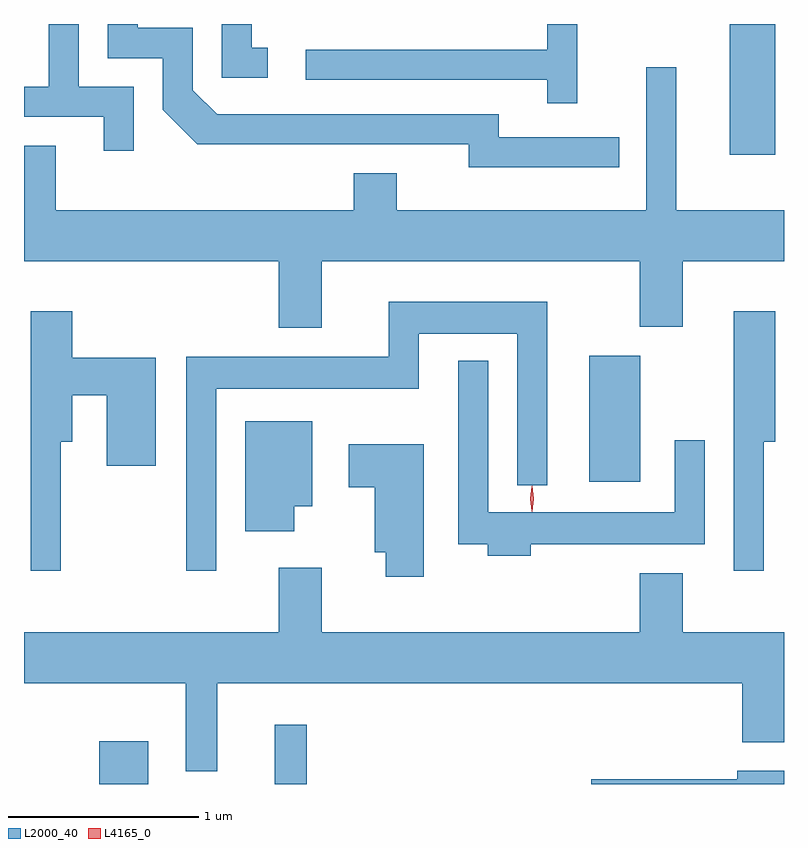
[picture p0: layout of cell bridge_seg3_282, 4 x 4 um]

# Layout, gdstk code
import gdstk
lib = gdstk.Library(unit=1e-6, precision=1e-09)
def R(c, l, rs):  # rectangles x0, y0, x1, y1
    for r in rs: c.add(gdstk.rectangle(r[:2], r[2:], *l))
def P(c, l, *ps):  # polygons
    for p in ps: c.add(gdstk.Polygon(p, *l))
L2000_40 = (2000, 40)
L4165_0 = (4165, 0)

bridge_seg3_282 = lib.new_cell('bridge_seg3_282')
R(bridge_seg3_282, L2000_40, [(1064.786,1116.605,1065.044,1116.829), (1065.711,1116.605,1065.879,1116.918), (1067.366,1118.196,1067.634,1118.859), (1068.106,1119.916,1068.344,1120.605)])
P(bridge_seg3_282, L2000_40, [(1067.523,1120.009),(1066.889,1120.009),(1066.889,1120.129),(1065.407,1120.129),(1065.279,1120.257),(1065.279,1120.584),(1064.989,1120.584),(1064.989,1120.605),(1064.831,1120.605),(1064.831,1120.426),(1065.121,1120.426),(1065.121,1120.154),(1065.304,1119.971),(1066.731,1119.971),(1066.731,1119.851),(1067.523,1119.851)],
  [(1067.304,1120.605),(1067.146,1120.605),(1067.146,1120.469),(1065.873,1120.469),(1065.873,1120.311),(1067.146,1120.311),(1067.146,1120.188),(1067.304,1120.188)],
  [(1064.969,1120.274),(1064.679,1120.274),(1064.679,1120.605),(1064.521,1120.605),(1064.521,1120.274),(1064.391,1120.274),(1064.391,1120.116),(1064.811,1120.116),(1064.811,1119.938),(1064.969,1119.938)],
  [(1065.673,1120.479),(1065.589,1120.479),(1065.589,1120.605),(1065.431,1120.605),(1065.431,1120.321),(1065.673,1120.321)],
  [(1064.559,1119.964),(1064.391,1119.964),(1064.391,1119.356),(1065.731,1119.356),(1065.731,1119.006),(1065.959,1119.006),(1065.959,1119.356),(1067.631,1119.356),(1067.631,1119.011),(1067.859,1119.011),(1067.859,1119.356),(1068.391,1119.356),(1068.391,1119.624),(1067.824,1119.624),(1067.824,1120.378),(1067.666,1120.378),(1067.666,1119.624),(1066.354,1119.624),(1066.354,1119.819),(1066.126,1119.819),(1066.126,1119.624),(1064.559,1119.624)],
  [(1065.404,1118.686),(1066.469,1118.686),(1066.469,1118.976),(1066.986,1118.976),(1066.986,1118.178),(1067.144,1118.178),(1067.144,1119.144),(1066.311,1119.144),(1066.311,1118.854),(1065.246,1118.854),(1065.246,1117.728),(1065.404,1117.728)],
  [(1068.284,1118.406),(1068.344,1118.406),(1068.344,1119.094),(1068.126,1119.094),(1068.126,1117.728),(1068.284,1117.728)],
  [(1064.584,1118.406),(1064.644,1118.406),(1064.644,1118.651),(1064.826,1118.651),(1064.826,1118.281),(1065.084,1118.281),(1065.084,1118.849),(1064.644,1118.849),(1064.644,1119.094),(1064.426,1119.094),(1064.426,1117.728),(1064.584,1117.728)],
  [(1067.059,1117.866),(1067.974,1117.866),(1067.974,1118.413),(1067.816,1118.413),(1067.816,1118.034),(1066.834,1118.034),(1066.834,1118.833),(1066.676,1118.833),(1066.676,1117.866),(1066.831,1117.866),(1066.831,1117.806),(1067.059,1117.806)],
  [(1065.814,1118.066),(1065.909,1118.066),(1065.909,1118.514),(1065.556,1118.514),(1065.556,1117.936),(1065.814,1117.936)],
  [(1066.494,1118.394),(1066.101,1118.394),(1066.101,1118.166),(1066.236,1118.166),(1066.236,1117.826),(1066.296,1117.826),(1066.296,1117.696),(1066.494,1117.696)],
  [(1065.409,1117.136),(1068.171,1117.136),(1068.171,1116.826),(1068.391,1116.826),(1068.391,1117.404),(1067.859,1117.404),(1067.859,1117.714),(1067.631,1117.714),(1067.631,1117.404),(1065.959,1117.404),(1065.959,1117.744),(1065.731,1117.744),(1065.731,1117.404),(1064.391,1117.404),(1064.391,1117.136),(1065.241,1117.136),(1065.241,1116.673),(1065.409,1116.673)],
  [(1068.391,1116.674),(1068.146,1116.674),(1068.146,1116.629),(1067.376,1116.629),(1067.376,1116.605),(1068.391,1116.605)])
P(bridge_seg3_282, L4165_0, [(1067.065,1118.037),(1067.065,1118.038),(1067.055,1118.107),(1067.065,1118.176),(1067.065,1118.176),(1067.066,1118.176),(1067.075,1118.107),(1067.066,1118.038)],
  [(1067.064,1118.04),(1067.064,1118.04),(1067.055,1118.106),(1067.064,1118.172),(1067.065,1118.173),(1067.065,1118.172),(1067.074,1118.106),(1067.065,1118.04)])

lib.write_gds('bridge_seg3_282.gds')
